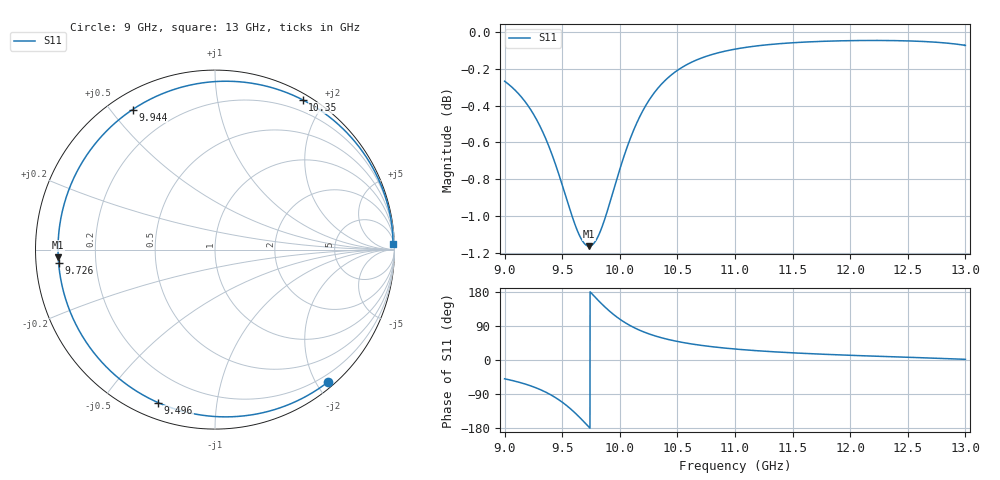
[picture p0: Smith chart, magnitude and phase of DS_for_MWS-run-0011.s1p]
! TOUCHSTONE file generated by CST DESIGN STUDIO
! Date and time: Tue Feb  4 17:06:59 2025
! Project name: C:\Work\MatlabApps\UnitCellOptimizationMatlab\CST\unitcell.cst
! Tree item: Tasks\Sweep1\SPara1\S-Parameters
! Header version: 2024
! Port assignment regex: !\s*Touchstone port\s*([0-9]+)\s*=\s*(CST MWS port|CST DES external port|CST DES block port)\s*(.+)\s* \(\"(.*)\"\)(\s*mode\s*([0-9]+))?.*
! Touchstone port assignment:
! Touchstone port 1 = CST DES external port 1 ("")
# GHz S MA R 50
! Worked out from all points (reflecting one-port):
!   4001 points, 9 GHz to 13 GHz, reference 50 ohm
!   lowest |S11| = -1.2 dB at 9.733 GHz (marker M1), VSWR 14.94, Z = 3.35 - j1.2 ohm
!   phase of S11 starts at -50 deg and turns -309 deg over the sweep
!   S11 on the Smith chart (normalised r, x): 9 GHz: 0.09, -2.16; 9.496 GHz: 0.07, -0.69; 9.726 GHz: 0.07, -0.04; 9.944 GHz: 0.07, +0.57; 10.35 GHz: 0.07, +1.74; 13 GHz: 17, +61
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9  0.9696 -49.6
9.138  0.9607 -59.8
9.265  0.9482 -72.6
9.396  0.9289 -91.1
9.448  0.9193 -100.5
9.496  0.9096 -110.4
9.5  0.9087 -111.3
9.554  0.8975 -124.1
9.607  0.8872 -138.4
9.67  0.878 -157.2
9.726  0.8746 -175.0
9.733  0.8746 -177.2
9.778  0.8764 168.2
9.825  0.8818 153.5
9.885  0.8926 135.9
9.944  0.9054 120.5
10  0.9177 107.7
10.077  0.933 93.0
10.17  0.9479 78.9
10.256  0.9584 68.6
10.35  0.967 59.7
10.5  0.9762 48.9
10.718  0.984 38.2
11  0.9893 29.0
11.5  0.9932 18.9
12  0.9946 12.4
12.5  0.9944 7.2
13  0.9916 1.7
